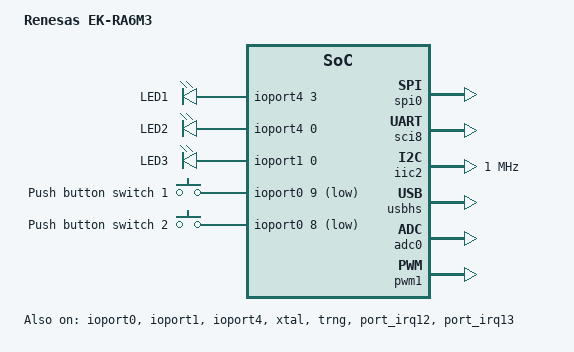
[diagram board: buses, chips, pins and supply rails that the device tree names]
/*
 * Copyright (c) 2024 Renesas Electronics Corporation
 * SPDX-License-Identifier: Apache-2.0
 */

/dts-v1/;

#include <renesas/ra/ra6/r7fa6m3ah3cfc.dtsi>
#include <dt-bindings/gpio/gpio.h>
#include <dt-bindings/input/input-event-codes.h>
#include <zephyr/dt-bindings/adc/adc.h>

#include "ek_ra6m3-pinctrl.dtsi"

/ {
	model = "Renesas EK-RA6M3";
	compatible = "renesas,ra6m3", "renesas,ra";

	chosen {
		zephyr,sram = &sram0;
		zephyr,console = &uart8;
		zephyr,shell-uart = &uart8;
		zephyr,flash-controller = &flash1;
		zephyr,flash = &flash0;
		zephyr,entropy = &trng;
	};

	leds {
		compatible = "gpio-leds";
		led1: led1 {
			gpios = <&ioport4 3 GPIO_ACTIVE_HIGH>;
			label = "LED1";
		};
		led2: led2 {
			gpios = <&ioport4 0 GPIO_ACTIVE_HIGH>;
			label = "LED2";
		};
		led3: led3 {
			gpios = <&ioport1 0 GPIO_ACTIVE_HIGH>;
			label = "LED3";
		};
	};

	buttons {
		compatible = "gpio-keys";
		button0: s1 {
			gpios = <&ioport0 9 (GPIO_PULL_UP | GPIO_ACTIVE_LOW)>;
			label = "Push button switch 1";
			zephyr,code = <INPUT_KEY_0>;
		};
		button1: s2 {
			gpios = <&ioport0 8 (GPIO_PULL_UP | GPIO_ACTIVE_LOW)>;
			label = "Push button switch 2";
			zephyr,code = <INPUT_KEY_1>;
		};
	};

	aliases {
		led0 = &led1;
		sw0 = &button0;
		sw1 = &button1;
	};
};

&spi0 {
	pinctrl-0 = <&spi0_default>;
	pinctrl-names = "default";
	status = "okay";
};

&ioport0 {
	status = "okay";
};

&ioport1 {
	status = "okay";
};

&ioport4 {
	status = "okay";
};

&sci8 {
	pinctrl-0 = <&sci8_default>;
	pinctrl-names = "default";
	status = "okay";
	uart8: uart {
		current-speed = <115200>;
		status = "okay";
	};
};

&iic2 {
	status = "okay";
	#address-cells = <1>;
	#size-cells = <0>;
	interrupts = <91 1>, <92 1>, <93 1>, <94 1>;
	interrupt-names = "rxi", "txi", "tei", "eri";
	clock-frequency = <DT_FREQ_M(1)>;
	pinctrl-0 = <&iic2_default>;
	pinctrl-names = "default";
};

&xtal {
	clock-frequency = <DT_FREQ_M(24)>;
	mosel = <0>;
	#clock-cells = <0>;
	status = "okay";
};

&subclk {
	status = "okay";
};

&pll {
	clocks = <&xtal>;
	div = <2>;
	mul = <20 0>;
	status = "okay";
};

&trng {
	status ="okay";
};

&usbhs {
	pinctrl-0 = <&usbhs_default>;
	pinctrl-names = "default";
	maximum-speed = "high-speed";
	status = "okay";
	zephyr_udc0: udc {
		status = "okay";
	};
};

&usbhs_phy {
	phys-clock-src = "xtal";
};

&adc0 {
	status = "okay";
	pinctrl-0 = <&adc0_default>;
	pinctrl-names = "default";
};

&port_irq12 {
	interrupts = <41 12>;
	status = "okay";
};

&port_irq13 {
	interrupts = <42 12>;
	status = "okay";
};

&pwm1 {
	pinctrl-0 = <&pwm1_default>;
	pinctrl-names = "default";
	interrupts = <63 1>, <64 1>;
	interrupt-names = "gtioca", "overflow";
	status = "okay";
};

&flash1 {
	partitions {
		compatible = "fixed-partitions";
		#address-cells = <1>;
		#size-cells = <1>;

		storage_partition: partition@0 {
			label = "storage";
			reg = <0X0 DT_SIZE_K(64)>;
		};
	};
};
